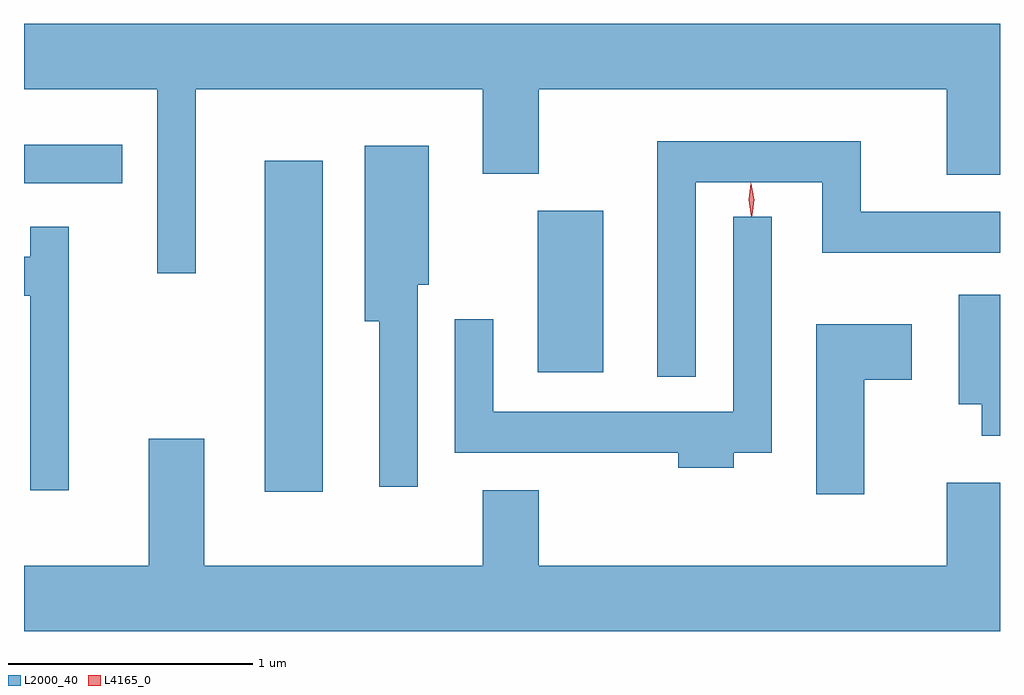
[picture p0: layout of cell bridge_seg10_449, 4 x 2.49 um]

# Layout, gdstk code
import gdstk
lib = gdstk.Library(unit=1e-6, precision=1e-09)
def R(c, l, rs):  # rectangles x0, y0, x1, y1
    for r in rs: c.add(gdstk.rectangle(r[:2], r[2:], *l))
def P(c, l, *ps):  # polygons
    for p in ps: c.add(gdstk.Polygon(p, *l))
L2000_40 = (2000, 40)
L4165_0 = (4165, 0)

bridge_seg10_449 = lib.new_cell('bridge_seg10_449')
R(bridge_seg10_449, L2000_40, [(1442.546,2121.146,1442.784,2122.504), (1443.666,2121.636,1443.934,2122.299), (1441.56,2122.411,1441.963,2122.569)])
P(bridge_seg10_449, L2000_40, [(1442.264,2122.796),(1443.441,2122.796),(1443.441,2122.451),(1443.669,2122.451),(1443.669,2122.796),(1445.341,2122.796),(1445.341,2122.446),(1445.56,2122.446),(1445.56,2123.064),(1441.56,2123.064),(1441.56,2122.796),(1442.106,2122.796),(1442.106,2122.043),(1442.264,2122.043)],
  [(1444.314,2122.416),(1444.831,2122.416),(1444.831,2122.126),(1445.56,2122.126),(1445.56,2122.294),(1444.989,2122.294),(1444.989,2122.584),(1444.156,2122.584),(1444.156,2121.618),(1444.314,2121.618)],
  [(1443.174,2121.996),(1443.219,2121.996),(1443.219,2122.564),(1442.956,2122.564),(1442.956,2121.846),(1443.016,2121.846),(1443.016,2121.168),(1443.174,2121.168)],
  [(1444.469,2121.306),(1444.624,2121.306),(1444.624,2122.273),(1444.466,2122.273),(1444.466,2121.474),(1443.484,2121.474),(1443.484,2121.853),(1443.326,2121.853),(1443.326,2121.306),(1444.241,2121.306),(1444.241,2121.246),(1444.469,2121.246)],
  [(1441.744,2122.233),(1441.586,2122.233),(1441.586,2122.109),(1441.56,2122.109),(1441.56,2121.951),(1441.586,2121.951),(1441.586,2121.153),(1441.744,2121.153)],
  [(1445.56,2121.954),(1445.391,2121.954),(1445.391,2121.506),(1445.486,2121.506),(1445.486,2121.376),(1445.56,2121.376)],
  [(1445.004,2121.606),(1445.199,2121.606),(1445.199,2121.834),(1444.806,2121.834),(1444.806,2121.136),(1445.004,2121.136)],
  [(1445.56,2121.184),(1445.341,2121.184),(1445.341,2120.844),(1443.669,2120.844),(1443.669,2121.154),(1443.441,2121.154),(1443.441,2120.844),(1442.299,2120.844),(1442.299,2121.364),(1442.071,2121.364),(1442.071,2120.844),(1441.56,2120.844),(1441.56,2120.576),(1445.56,2120.576)])
P(bridge_seg10_449, L4165_0, [(1444.541,2122.274),(1444.541,2122.274),(1444.53,2122.343),(1444.538,2122.412),(1444.538,2122.413),(1444.539,2122.412),(1444.55,2122.343),(1444.542,2122.274)],
  [(1444.544,2122.277),(1444.543,2122.278),(1444.532,2122.343),(1444.54,2122.41),(1444.541,2122.41),(1444.541,2122.41),(1444.552,2122.344),(1444.544,2122.278)])

lib.write_gds('bridge_seg10_449.gds')
